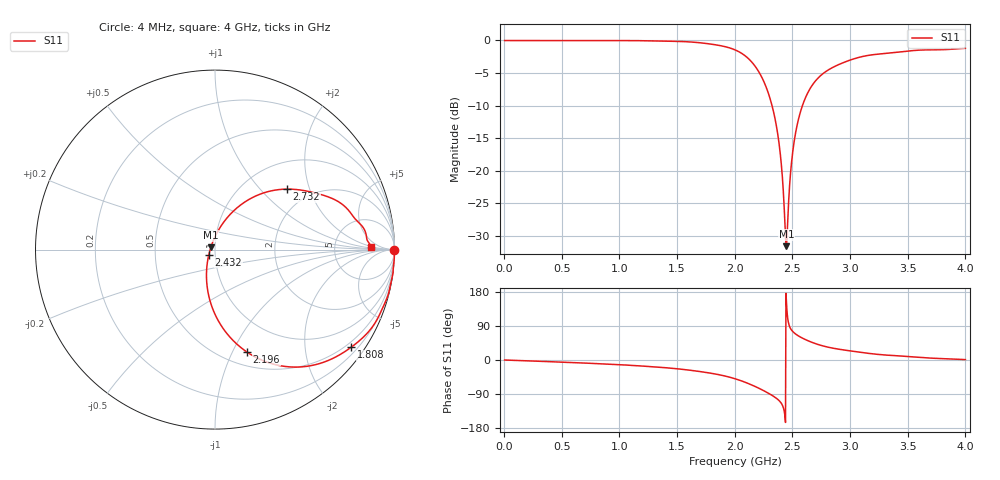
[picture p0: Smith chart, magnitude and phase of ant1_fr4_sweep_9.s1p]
! TOUCHSTONE file generated by CST MICROWAVE STUDIO
! Date and time: Fri May  6 15:38:55 2022
! Project name: ant1_ceramic_sweep_fr4.cst
! Parameters = {e=0.035; h=1.6; i=0.8; l1=0.55; l2=20.96; ls=80; wl=1.7; ws=30}
! Header version: 2018
! Port assignment regex: !\s*Touchstone port\s*([0-9]+)\s*=\s*(CST MWS port|CST DS port)\s*([0-9]+|Zmin|Zmax)\s*\(\"(.*)\"\)(\s*mode\s*([0-9]+))?.*
! Touchstone port assignment:
! Touchstone port 1 = CST MWS port 1 ("")
# GHz S DB R 50
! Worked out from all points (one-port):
!   1000 points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, 4 MHz to 4 GHz, reference 50 ohm
!   lowest |S11| = -31.6 dB at 2.448 GHz (marker M1), VSWR 1.05, Z = 47.7 + j1.13 ohm
!   |S11| at or under -10 dB: 2.323 GHz to 2.587 GHz (264.2 MHz wide, 10.8 % of centre)
!   S11 on the Smith chart (normalised r, x): 4 MHz: open; 1.808 GHz: 0.36, -3.07; 2.196 GHz: 0.64, -1.14; 2.432 GHz: 0.93, -0.05; 2.732 GHz: 1.54, +1.43; 4 GHz: 14, +2
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0.004  -0.01 -0.0
0.504  -0.01 -5.6
1.004  -0.02 -12.4
1.504  -0.14 -23.3
1.808  -0.60 -35.7
2.004  -1.46 -49.6
2.108  -2.62 -60.9
2.196  -4.47 -72.7
2.288  -7.94 -87.1
2.356  -12.66 -100.0
2.38  -15.30 -105.9
2.4  -18.34 -112.6
2.412  -20.81 -118.6
2.432  -27.03 -140.7
2.44  -30.35 -164.8
2.448  -31.62 153.2
2.46  -27.35 107.8
2.484  -20.33 82.8
2.504  -16.93 74.8
2.54  -13.07 65.9
2.588  -9.95 57.5
2.652  -7.44 48.6
2.732  -5.61 40.0
2.844  -4.20 31.6
3.004  -2.99 23.9
3.188  -2.21 16.5
3.504  -1.63 9.2
4  -1.21 1.0
